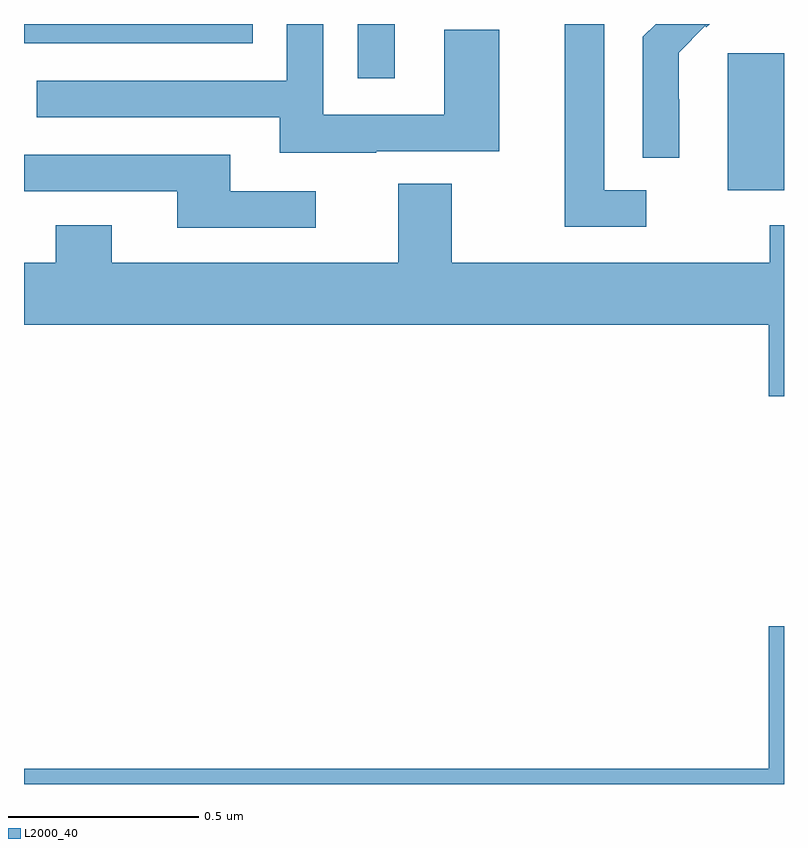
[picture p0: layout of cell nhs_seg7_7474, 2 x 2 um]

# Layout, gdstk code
import gdstk
lib = gdstk.Library(unit=1e-6, precision=1e-09)
def R(c, l, rs):  # rectangles x0, y0, x1, y1
    for r in rs: c.add(gdstk.rectangle(r[:2], r[2:], *l))
def P(c, l, *ps):  # polygons
    for p in ps: c.add(gdstk.Polygon(p, *l))
L2000_40 = (2000, 40)

nhs_seg7_7474 = lib.new_cell('nhs_seg7_7474')
R(nhs_seg7_7474, L2000_40, [(212.852,1075.562,213,1075.923), (211.878,1075.857,211.975,1076), (211,1075.95,211.602,1076)])
P(nhs_seg7_7474, L2000_40, [(212.638,1075.563),(212.527,1075.563),(212.527,1076),(212.423,1076),(212.423,1075.467),(212.638,1075.467)],
  [(211.927,1075.665),(212.251,1075.665),(212.251,1075.985),(212.106,1075.985),(212.106,1075.761),(211.788,1075.761),(211.788,1076),(211.692,1076),(211.692,1075.851),(211.033,1075.851),(211.033,1075.755),(211.673,1075.755),(211.673,1075.661),(211.927,1075.661)],
  [(212.724,1075.802),(212.723,1075.802),(212.723,1075.925),(212.793,1075.995),(212.796,1075.992),(212.804,1076),(212.662,1076),(212.628,1075.966),(212.628,1075.648),(212.724,1075.648)],
  [(211.768,1075.56),(211.543,1075.56),(211.543,1075.656),(211,1075.656),(211,1075.56),(211.403,1075.56),(211.403,1075.464),(211.768,1075.464)],
  [(213,1075.471),(212.962,1075.471),(212.962,1075.372),(212.125,1075.372),(212.125,1075.58),(211.985,1075.58),(211.985,1075.372),(211.231,1075.372),(211.231,1075.471),(211.084,1075.471),(211.084,1075.372),(211,1075.372),(211,1075.208),(212.96,1075.208),(212.96,1075.02),(213,1075.02)],
  [(213,1074.415),(212.96,1074.415),(212.96,1074.04),(211,1074.04),(211,1074),(213,1074)])

lib.write_gds('nhs_seg7_7474.gds')
